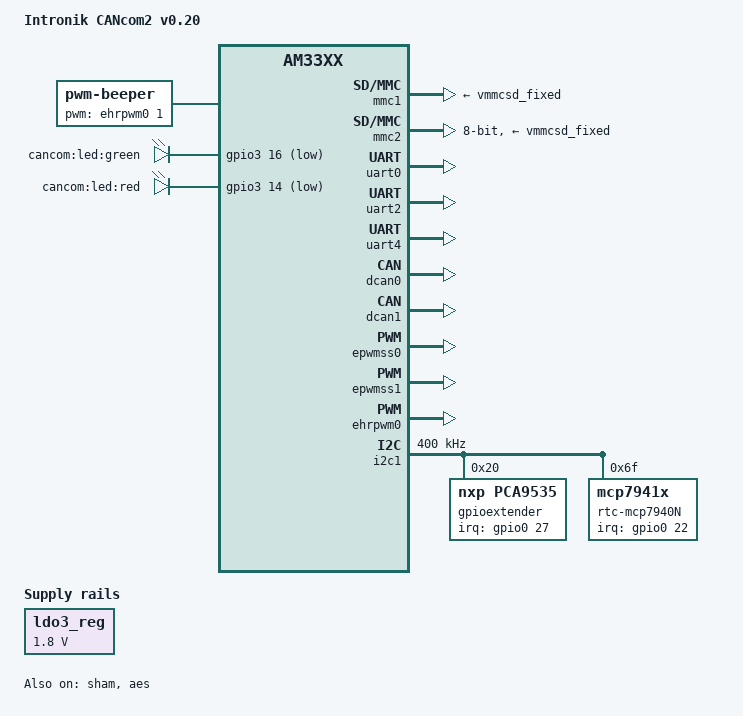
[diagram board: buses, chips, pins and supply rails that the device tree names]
/*
 * Copyright (C) 2016 Intronik GmbH
 *
 * Hardware specification for Intronik CANcom module.
 * V0.2 - 2016-05-17 Daniel Gross
 */
/dts-v1/;

#include "am33xx.dtsi"
#include "am335x-bone-common-no-capemgr.dtsi"
#include "am335x-intronik-pinmux.dtsi"
#include <dt-bindings/interrupt-controller/irq.h>
#include <dt-bindings/input/input.h>

/ {
	model = "Intronik CANcom2 v0.20";
	compatible = "ti,am335x-bone-black", "ti,am335x-bone", "ti,am33xx";
};

&ldo3_reg {
	regulator-min-microvolt = <1800000>;
	regulator-max-microvolt = <1800000>;
	regulator-always-on;
};

&sham {
	status = "okay";
};

&aes {
	status = "okay";
};

&mmc1 {	// sd-card
	vmmc-supply = <&vmmcsd_fixed>;
};

&mmc2 {	// emmc
	status = "okay";
	vmmc-supply = <&vmmcsd_fixed>;
	pinctrl-names = "default";
	pinctrl-0 = <&emmc_pins>;
	bus-width = <8>;
};

&uart0 { // X3.3 (J1.4), X3.1 (J1.5)
	pinctrl-names = "default";
	pinctrl-0 = <&uart0_pins>;
	status = "okay";
};

&uart2 { // X7.3 (P9.21), X7.1 (P9.22)
	status = "okay";
	pinctrl-names = "default", "sleep";
	pinctrl-0 = <&P9_22_uart_pin &P9_21_uart_pin>;
	pinctrl-1 = <&P9_22_default_pin &P9_21_default_pin>;
}; 

&uart4 { // X6.3 (P9.11), X6.1 (P9.13)
	status = "okay";
	pinctrl-names = "default", "sleep";
	pinctrl-0 = <&P9_11_uart_pin &P9_13_uart_pin>;
	pinctrl-1 = <&P9_11_default_pin &P9_13_default_pin>;
};

&dcan0 { // X2
	 status = "okay";
	 pinctrl-names = "default", "sleep";
	 pinctrl-0 = <&P9_19_can_pin &P9_20_can_pin>;
	 pinctrl-1 = <&P9_19_default_pin &P9_20_default_pin>;
};

&dcan1 { // X3
	 status = "okay";
	 pinctrl-names = "default", "sleep";
	 pinctrl-0 = <&P9_24_can_pin &P9_26_can_pin>;
	 pinctrl-1 = <&P9_24_default_pin &P9_26_default_pin>;
};

&epwmss0 {
	status = "okay";
};

&epwmss1 {
	status = "okay";
};

&ehrpwm0 { // pwm module used beeper (EHRPWM0B)
	status = "okay";
	pinctrl-names = "default", "sleep";
	pinctrl-0 = <&P9_29_pwm_pin>;
	pinctrl-1 = <&P9_29_gpio_pd_pin>;
};

&pruss {
	status = "disabled";
};

&lcdc {	// hdmi is not required
	status = "disabled";
};

&rtc {  // we use an external i2c rtc, so this should be disabled
	status = "disable";
};

&i2c1 {
	status = "okay";
	pinctrl-names = "default", "sleep";
	pinctrl-0 = <&P9_17_i2c_pin &P9_18_i2c_pin>;
	pinctrl-1 = <&P9_17_default_pin &P9_18_default_pin>;
	clock-frequency = <400000>;
		
	gpioextender: gpioextender@20 {
		reg = <0x20>;
		compatible = "nxp,pca9535";
		pinctrl-names = "default";
		pinctrl-0 = <&P8_17_gpio_pu_pin>;
		gpio-controller;
		#gpio-cells = <2>;
		interrupt-parent = <&gpio0>;
		interrupts = <27 IRQ_TYPE_EDGE_FALLING>;
		interrupt-controller;
		#interrupt-cells = <2>;
	};

    rtc-mcp7940N@6F {
		reg = <0x6f>;
		compatible = "mcp7941x";
		pinctrl-names = "default";
		pinctrl-0 = <&P8_19_gpio_pu_pin>;
		interrupt-parent = <&gpio0>;
		interrupts = <22 IRQ_TYPE_EDGE_FALLING>;
	};
};

&i2c2 { // required to enable CAN0
	status = "disable";
};

&leds {
	pinctrl-names = "default", "sleep";
	pinctrl-0 = <&user_leds_s0 &P9_30_gpio_pu_pin &P9_31_gpio_pu_pin>;
	pinctrl-1 = <&user_leds_sleep &P9_30_gpio_pu_pin &P9_31_gpio_pu_pin>;
	
	led@red {
		label = "cancom:led:green";
		gpios = <&gpio3 16 GPIO_ACTIVE_LOW>;
		linux,default-trigger = "heartbeat";
		default-state = "off";
	};
	
	led@green {
		label = "cancom:led:red";
		gpios = <&gpio3 14 GPIO_ACTIVE_LOW>;
		linux,default-trigger = "timer";
		default-state = "off";
	};
};


/ {
	cpus {
		cpu@0 {
			cpu0-supply = <&dcdc2_reg>;
			/*
			 * To consider voltage drop between PMIC and SoC,
			 * tolerance value is reduced to 2% from 4% and
			 * voltage value is increased as a precaution.
			 */
			operating-points = <
				/* kHz    uV */
				1000000	1325000
				800000	1300000
				600000	1112000
				300000	969000
			>;
		};
	};

	beeper: beeper {
		status = "okay";
		compatible = "pwm-beeper";
		pwms = <&ehrpwm0 1 250000 0>; // EHRPWM0B 4kHz
	};
	
	CanComIo {
		pinctrl-names = "default";
		pinctrl-0 = <
			&P8_07_gpio_pin
			&P8_08_gpio_pin
			&P8_09_gpio_pin
			&P8_10_gpio_pin
			&P8_11_gpio_pin
			&P8_12_gpio_pin
			&P8_13_gpio_pin
			&P8_14_gpio_pin
			&P8_15_gpio_pin
			&P8_26_gpio_pin
			&P9_12_gpio_pin
			&P9_15_gpio_pin
			&P9_16_gpio_pin
		>;
		compatible = "gpio-of-helper";
		status = "okay";
		
		CanComInp00 {
			gpio-name = "Inp00";
			gpio = <&gpioextender 0 0>;
			input;
		};		
		CanComInp01 {
			gpio-name = "Inp01";
			gpio = <&gpioextender 1 0>;
			input;
		};
		CanComInp02 {
			gpio-name = "Inp02";
			gpio = <&gpioextender 2 0>;
			input;
		};
		CanComInp03 {
			gpio-name = "Inp03";
			gpio = <&gpioextender 3 0>;
			input;
		};
		CanComInp04 {
			gpio-name = "Inp04";
			gpio = <&gpioextender 4 0>;
			input;
		};
		CanComInp05 {
			gpio-name = "Inp05";
			gpio = <&gpioextender 5 0>;
			input;
		};
		CanComInp06 {
			gpio-name = "Inp06";
			gpio = <&gpioextender 6 0>;
			input;
		};
		CanComInp07 {
			gpio-name = "Inp07";
			gpio = <&gpioextender 7 0>;
			input;
		};		
		CanComInp08 {
			gpio-name = "Inp08";
			gpio = <&gpioextender 8 0>;
			input;
		};		
		CanComInp09 {
			gpio-name = "Inp09";
			gpio = <&gpioextender 9 0>;
			input;
		};
		CanComInp10 {
			gpio-name = "Inp10";
			gpio = <&gpioextender 10 0>;
			input;
		};
		CanComInp11 {
			gpio-name = "Inp11";
			gpio = <&gpioextender 11 0>;
			input;
		};
		CanComInp12 {
			gpio-name = "Inp12";
			gpio = <&gpioextender 12 0>;
			input;
		};
		CanComInp13 {
			gpio-name = "Inp13";
			gpio = <&gpioextender 13 0>;
			input;
		};
		CanComInp14 {
			gpio-name = "Inp14";
			gpio = <&gpioextender 14 0>;
			input;
		};
		CanComInp15 {
			gpio-name = "Inp15";
			gpio = <&gpioextender 15 0>;
			input;
		};
				
		CanComOut00 {
			gpio-name = "Out00";
			gpio = <&gpio2 2 0>;
			output;
			init-low;
		};	
		CanComOut01 {
			gpio-name = "Out01";
			gpio = <&gpio2 3 0>;
			output;
			init-low;
		};	
		CanComOut02 {
			gpio-name = "Out02";
			gpio = <&gpio2 5 0>;
			output;
			init-low;
		};
		CanComOut03 {
			gpio-name = "Out03";
			gpio = <&gpio2 4 0>;
			output;
			init-low;
		};
		CanComOut04 {
			gpio-name = "Out04";
			gpio = <&gpio1 13 0>;
			output;
			init-low;
		};
		CanComOut05 {
			gpio-name = "Out05";
			gpio = <&gpio1 12 0>;
			output;
			init-low;
		};
		CanComOut06 {
			gpio-name = "Out06";
			gpio = <&gpio0 23 0>;
			output;
			init-low;
		};	
		CanComOut07 {
			gpio-name = "Out07";
			gpio = <&gpio0 26 0>;
			output;
			init-low;
		};	
		CanComOut08 {
			gpio-name = "Out08";
			gpio = <&gpio1 15 0>;
			output;
			init-low;
		};	
		CanComOut09 {
			gpio-name = "Out09";
			gpio = <&gpio1 29 0>;
			output;
			init-low;
		};
		CanComOut10 {
			gpio-name = "Out10";
			gpio = <&gpio1 28 0>;
			output;
			init-low;
		};	
		CanComOut11 {
			gpio-name = "Out11";
			gpio = <&gpio1 16 0>;
			output;
			init-low;
		};	
		CanComOut12 {
			gpio-name = "Out12";
			gpio = <&gpio1 19 0>;
			output;
			init-low;
		};	
	};
};
